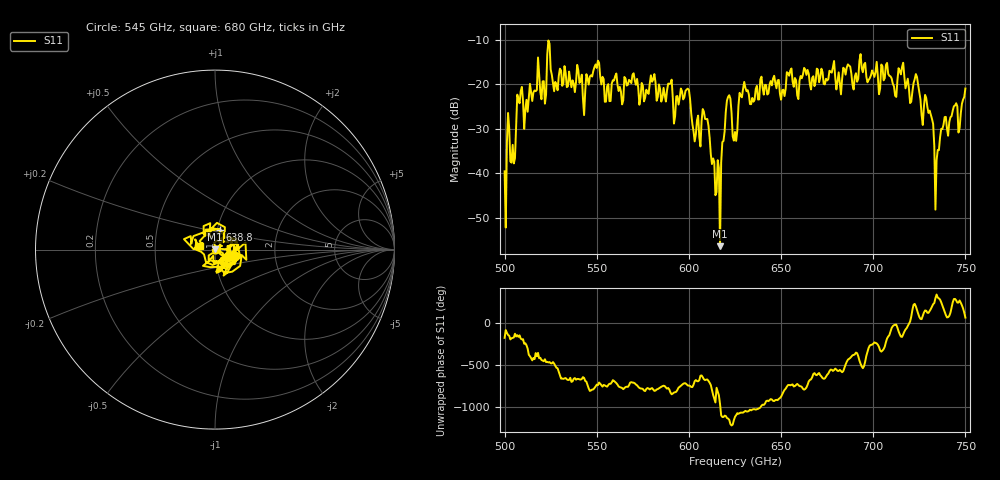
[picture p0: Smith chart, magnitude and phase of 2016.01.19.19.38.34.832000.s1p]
!Created with skrf (http://scikit-rf.org).
# GHz S RI R 50.0
!freq ReS11 ImS11
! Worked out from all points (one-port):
!   401 points, 500 GHz to 750 GHz, reference 50 ohm
!   lowest |S11| = -56.4 dB at 616.9 GHz (marker M1), VSWR 1.00, Z = 49.9 + j0.131 ohm
!   |S11| at or under -10 dB: start of sweep to end of sweep
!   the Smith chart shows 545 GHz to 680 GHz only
!   S11 on the Smith chart (normalised r, x): 545 GHz: 1.25, -0.09; 638.8 GHz: 1.03, +0.23; 680 GHz: 0.84, +0.03
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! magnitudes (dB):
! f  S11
! 500 GHz  -39.6
! 502.5 GHz  -30.0
! 504.4 GHz  -33.6
! 508.1 GHz  -24.3
! 521.2 GHz  -19.3
! 524.4 GHz  -10.9
! 527.5 GHz  -19.5
! 531.2 GHz  -20.4
! 545 GHz  -18.7
! 562.5 GHz  -20.6
! 593.8 GHz  -22.7
! 599.4 GHz  -21.0
! 603.1 GHz  -32.9
! 608.8 GHz  -27.8
! 615.6 GHz  -37.1
! 616.9 GHz  -56.4
! 621.2 GHz  -22.8
! 625 GHz  -30.7
! 628.8 GHz  -23.0
! 638.8 GHz  -18.9
! 656.2 GHz  -19.4
! 680 GHz  -21.2
! 687.5 GHz  -16.0
! 718.8 GHz  -18.8
! 729.4 GHz  -25.1
! 734.4 GHz  -37.1
! 738.1 GHz  -29.1
! 750 GHz  -21.0
